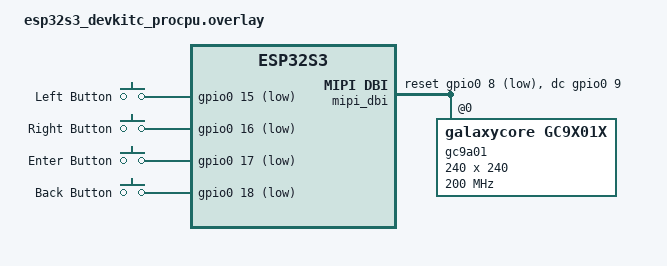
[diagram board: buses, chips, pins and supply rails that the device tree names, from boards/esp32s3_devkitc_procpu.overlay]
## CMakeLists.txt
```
cmake_minimum_required(VERSION 3.20.0)

find_package(Zephyr REQUIRED HINTS $ENV{ZEPHYR_BASE})
project(naryi-os)

target_sources(app PRIVATE src/main.c)

add_subdirectory(src/modules)
```

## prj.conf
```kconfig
CONFIG_LVGL=y
CONFIG_LV_USE_LOG=y
CONFIG_LV_USE_LABEL=y
CONFIG_LV_USE_ARC=y
CONFIG_LV_USE_MONKEY=y
CONFIG_LV_FONT_MONTSERRAT_24=y
CONFIG_LV_FONT_MONTSERRAT_36=y

CONFIG_LV_COLOR_16_SWAP=y
CONFIG_LV_COLOR_DEPTH_16=y
CONFIG_LV_Z_MEM_POOL_SIZE=16384
CONFIG_MAIN_STACK_SIZE=4096

CONFIG_DISPLAY=y
CONFIG_DISPLAY_LOG_LEVEL_ERR=y

CONFIG_LOG=y
CONFIG_LOG_DEFAULT_LEVEL=3

CONFIG_ASSERT=y

CONFIG_GPIO=y

CONFIG_ZBUS=y
CONFIG_ZBUS_PREFER_DYNAMIC_ALLOCATION=y
CONFIG_ZBUS_CHANNELS_SYS_INIT_PRIORITY=5
# CONFIG_ZBUS_CHANNEL_NAME is not set
# CONFIG_ZBUS_CHANNEL_ID is not set
# CONFIG_ZBUS_OBSERVER_NAME is not set
# CONFIG_ZBUS_CHANNEL_PUBLISH_STATS is not set
# CONFIG_ZBUS_MSG_SUBSCRIBER is not set
# CONFIG_ZBUS_RUNTIME_OBSERVERS is not set
# CONFIG_ZBUS_PRIORITY_BOOST=y
# CONFIG_ZBUS_ASSERT_MOCK is not set
# CONFIG_ZBUS_LOG_LEVEL_OFF is not set
# CONFIG_ZBUS_LOG_LEVEL_ERR is not set
# CONFIG_ZBUS_LOG_LEVEL_WRN is not set
# CONFIG_ZBUS_LOG_LEVEL_INF is not set
# CONFIG_ZBUS_LOG_LEVEL_DBG is not set
# CONFIG_ZBUS_LOG_LEVEL_DEFAULT=y
# CONFIG_ZBUS_LOG_LEVEL=3
```

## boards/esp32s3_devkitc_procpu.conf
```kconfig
CONFIG_ESPTOOLPY_FLASHSIZE_16MB=y
CONFIG_ESPTOOLPY_FLASHMODE_QIO=y
CONFIG_ESPTOOLPY_HEADER_FLASHSIZE_UPDATE=y
CONFIG_ESP_SPIRAM=y
CONFIG_ESP_SPIRAM_MEMTEST=y
# CONFIG_SHARED_MULTI_HEAP=y
CONFIG_SPIRAM_MODE_OCT=y
CONFIG_SPIRAM_SPEED_80M=y
CONFIG_ESP32S3_DATA_CACHE_64KB=y
```

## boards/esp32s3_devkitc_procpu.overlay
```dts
#include <zephyr/dt-bindings/display/panel.h>

/ {
  chosen {
    zephyr,display = &gc9a01;
  };

	mipi_dbi {
		compatible = "zephyr,mipi-dbi-spi";
		spi-dev = <&spi2>;
		dc-gpios = <&gpio0 9 GPIO_ACTIVE_HIGH>;
		reset-gpios = <&gpio0 8 GPIO_ACTIVE_LOW>;
		write-only;
		#address-cells = <1>;
		#size-cells = <0>;

		gc9a01: gc9a01@0 {
			status = "okay";
			compatible = "galaxycore,gc9x01x";
			reg = <0>;
			mipi-max-frequency = <200000000>;
			pixel-format = <PANEL_PIXEL_FORMAT_RGB_565>;
			display-inversion;
			width = <240>;
			height = <240>;
		};
	};


  buttons {
    button1: button_1 {
      gpios = <&gpio0 15 (GPIO_PULL_UP | GPIO_ACTIVE_LOW)>;
      label = "Left Button";
    };

    button2: button_2 {
      gpios = <&gpio0 16 (GPIO_PULL_UP | GPIO_ACTIVE_LOW)>;
      label = "Right Button";
    };

    button3: button_3 {
      gpios = <&gpio0 17 (GPIO_PULL_UP | GPIO_ACTIVE_LOW)>;
      label = "Enter Button";
    };

    button4: button_4 {
      gpios = <&gpio0 18 (GPIO_PULL_UP | GPIO_ACTIVE_LOW)>;
      label = "Back Button";
    };

  };

};

&spi2 {
  dma-enabled;
};

&flash0 {
	reg = <0x0 DT_SIZE_M(16)>;
};

&psram0 {
	size = <DT_SIZE_M(8)>;
};
```

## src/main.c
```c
#include <lvgl.h>
#include <stdio.h>
#include <zephyr/device.h>
#include <zephyr/devicetree.h>
#include <zephyr/drivers/display.h>
#include <zephyr/kernel.h>
#include <zephyr/logging/log.h>
#include <zephyr/sys/__assert.h>

#include "modules/buttons/buttons.h"
#include "modules/ui/app_manager.h"
#include "modules/ui/display_ctrl.h"

LOG_MODULE_REGISTER(main, CONFIG_LOG_DEFAULT_LEVEL);

int main(void)
{
    __ASSERT(display_ctrl_start() == 0, "Failed to start display_ctrl.");

    __ASSERT(app_manager_start() == 0, "Failed to start the screen_manager.");

    __ASSERT(buttons_start() == 0, "Failed to start buttons.");

    return 0;
}
```
